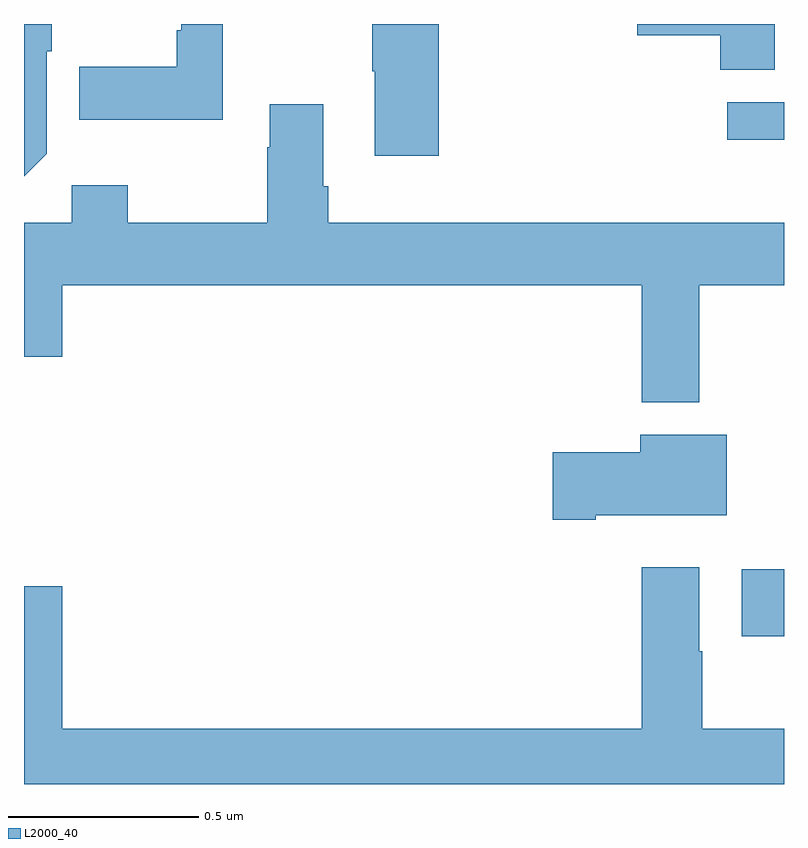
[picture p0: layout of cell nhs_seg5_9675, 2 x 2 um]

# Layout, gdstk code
import gdstk
lib = gdstk.Library(unit=1e-6, precision=1e-09)
def R(c, l, rs):  # rectangles x0, y0, x1, y1
    for r in rs: c.add(gdstk.rectangle(r[:2], r[2:], *l))
def P(c, l, *ps):  # polygons
    for p in ps: c.add(gdstk.Polygon(p, *l))
L2000_40 = (2000, 40)

nhs_seg5_9675 = lib.new_cell('nhs_seg5_9675')
R(nhs_seg5_9675, L2000_40, [(238.889,837.188,239,837.364), (238.851,838.495,239,838.593)])
P(nhs_seg5_9675, L2000_40, [(237.06,838.458),(237.06,838.727),(237.073,838.727),(237.073,838.799),(237,838.799),(237,838.398)],
  [(238.091,838.799),(237.916,838.799),(237.916,838.675),(237.923,838.675),(237.923,838.452),(238.091,838.452)],
  [(237.523,838.799),(237.414,838.799),(237.414,838.783),(237.402,838.783),(237.402,838.687),(237.145,838.687),(237.145,838.547),(237.523,838.547)],
  [(238.975,838.799),(238.614,838.799),(238.614,838.769),(238.832,838.769),(238.832,838.678),(238.975,838.678)],
  [(238.777,838.112),(239,838.112),(239,838.276),(237.8,838.276),(237.8,838.372),(237.787,838.372),(237.787,838.588),(237.647,838.588),(237.647,838.475),(237.64,838.475),(237.64,838.276),(237.273,838.276),(237.273,838.375),(237.126,838.375),(237.126,838.276),(237,838.276),(237,837.924),(237.1,837.924),(237.1,838.112),(238.625,838.112),(238.625,837.803),(238.777,837.803)],
  [(238.504,837.506),(238.849,837.506),(238.849,837.718),(238.622,837.718),(238.622,837.672),(238.392,837.672),(238.392,837.494),(238.504,837.494)],
  [(239,836.944),(238.785,836.944),(238.785,837.149),(238.777,837.149),(238.777,837.37),(238.625,837.37),(238.625,836.944),(237.1,836.944),(237.1,837.319),(237,837.319),(237,836.799),(239,836.799)])

lib.write_gds('nhs_seg5_9675.gds')
